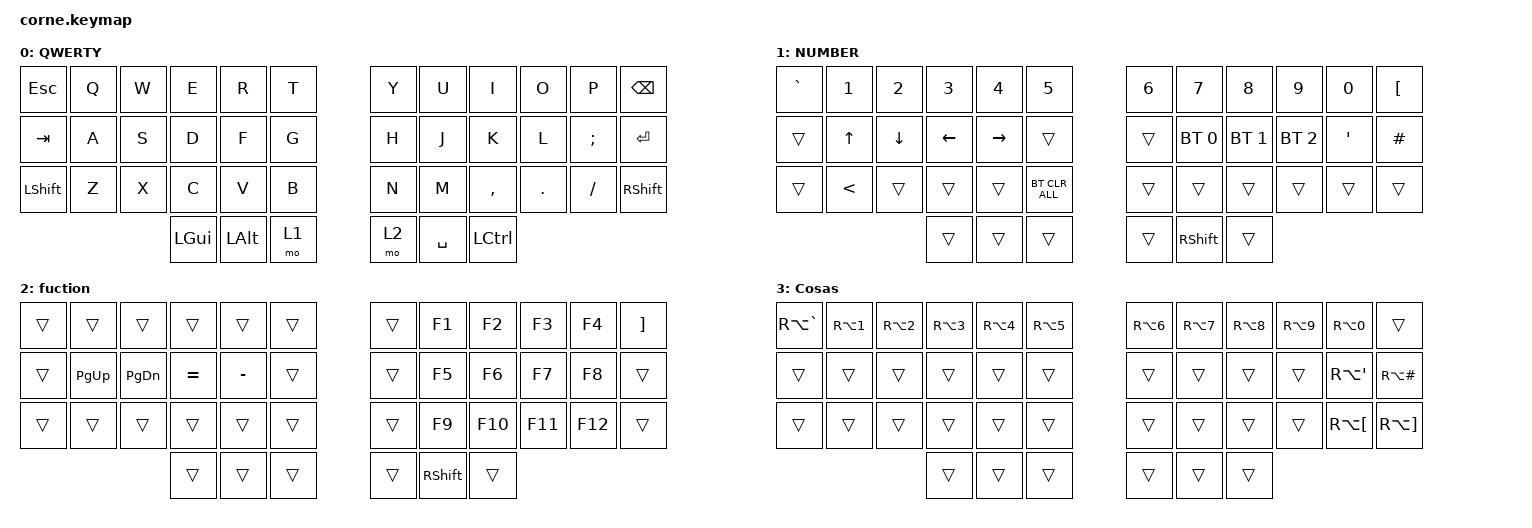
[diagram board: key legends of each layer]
/*
 * Copyright (c) 2020 The ZMK Contributors
 *
 * SPDX-License-Identifier: MIT
 */

#include <behaviors.dtsi>
#include <dt-bindings/zmk/bt.h>
#include <dt-bindings/zmk/keys.h>

/ {
    chosen {
        zmk,matrix_transform = &default_transform;

        // zmk,matrix_transform = &five_column_transform;
    };
};

/ {
    behaviors {
        td0: td0 {
            compatible = "zmk,behavior-tap-dance";
            label = "TD0";
            #binding-cells = <0>;
            bindings = <&kp LEFT_SHIFT>, <&kp CAPS>;
        };
    };

    keymap {
        compatible = "zmk,keymap";

        default_layer {
            display-name = "QWERTY";

            // --------------------------------------------------------------------------------
            // |  TAB |  Q  |  W  |  E  |  R  |  T  |   |  Y  |  U   |  I  |  O  |  P  | BKSP |
            // | CTRL |  A  |  S  |  D  |  F  |  G  |   |  H  |  J   |  K  |  L  |  ;  |  '   | 
            // | SHFT |  Z  |  X  |  C  |  V  |  B  |   |  N  |  M   |  ,  |  .  |  /  | ESC  |
            //                    | GUI | LWR | SPC |   | ENT | RSE  | ALT |

            bindings = <
&kp ESCAPE      &kp Q  &kp W  &kp E     &kp R         &kp T    &kp Y  &kp U      &kp I             &kp O    &kp P     &kp BSPC
&kp TAB         &kp A  &kp S  &kp D     &kp F         &kp G    &kp H  &kp J      &kp K             &kp L    &kp SEMI  &kp ENTER
&kp LEFT_SHIFT  &kp Z  &kp X  &kp C     &kp V         &kp B    &kp N  &kp M      &kp COMMA         &kp DOT  &kp FSLH  &kp RIGHT_SHIFT
                              &kp LGUI  &kp LEFT_ALT  &mo 1    &mo 2  &kp SPACE  &kp LEFT_CONTROL
            >;
        };

        lower_layer {
            display-name = "NUMBER";

            // -----------------------------------------------------------------------------------------
            // |  TAB |  1  |  2  |  3  |  4  |  5  |   |  6  |  7  |  8  |  9  |  0  | BKSP |
            // | BTCLR| BT1 | BT2 | BT3 | BT4 | BT5 |   | LFT | DWN |  UP | RGT |     |      |
            // | SHFT |     |     |     |     |     |   |     |     |     |     |     |      |
            //                    | GUI |     | SPC |   | ENT |     | ALT |

            bindings = <
&kp GRAVE  &kp N1  &kp N2    &kp N3    &kp N4     &kp N5            &kp N6  &kp N7           &kp N8        &kp N9        &kp N0   &kp LBKT
&trans     &kp UP  &kp DOWN  &kp LEFT  &kp RIGHT  &trans            &trans  &bt BT_SEL 0     &bt BT_SEL 1  &bt BT_SEL 2  &kp SQT  &kp POUND
&trans     &kp LT  &trans    &trans    &trans     &bt BT_CLR_ALL    &trans  &trans           &trans        &trans        &trans   &trans
                             &trans    &trans     &trans            &trans  &kp RIGHT_SHIFT  &trans
            >;
        };

        upper_layer {
            bindings = <
&trans  &trans     &trans     &trans     &trans     &trans    &trans  &kp F1           &kp F2   &kp F3   &kp F4   &kp RBKT
&trans  &kp PG_UP  &kp PG_DN  &kp EQUAL  &kp MINUS  &trans    &trans  &kp F5           &kp F6   &kp F7   &kp F8   &trans
&trans  &trans     &trans     &trans     &trans     &trans    &trans  &kp F9           &kp F10  &kp F11  &kp F12  &trans
                              &trans     &trans     &trans    &trans  &kp RIGHT_SHIFT  &trans
            >;

            label = "fuction";
        };

        layer_3 {
            bindings = <
&kp RA(GRAVE)  &kp RA(NUMBER_1)  &kp RA(NUMBER_2)  &kp RA(NUMBER_3)  &kp RA(NUMBER_4)  &kp RA(N5)    &kp RA(NUMBER_6)  &kp RA(N7)  &kp RA(N8)  &kp RA(N9)  &kp RA(N0)            &trans
&trans         &trans            &trans            &trans            &trans            &trans        &trans            &trans      &trans      &trans      &kp RA(SINGLE_QUOTE)  &kp RA(HASH)
&trans         &trans            &trans            &trans            &trans            &trans        &trans            &trans      &trans      &trans      &kp RA(LEFT_BRACKET)  &kp RA(RIGHT_BRACKET)
                                                   &trans            &trans            &trans        &trans            &trans      &trans
            >;

            label = "Cosas";
        };
    };

    conditional_layers {
        compatible = "zmk,conditional-layers";

        Layer_3 {
            if-layers = <1 2>;
            then-layer = <3>;
        };
    };
};
